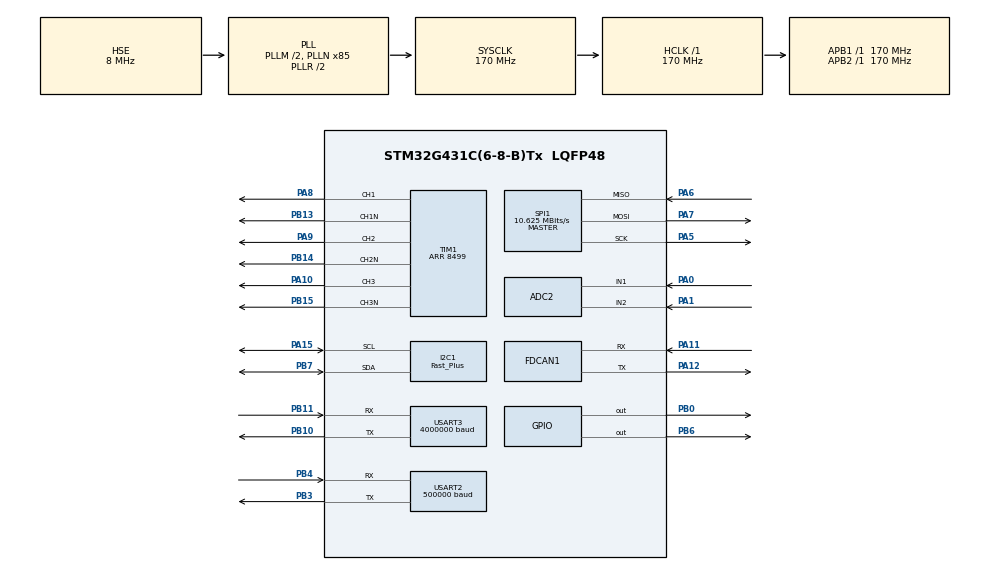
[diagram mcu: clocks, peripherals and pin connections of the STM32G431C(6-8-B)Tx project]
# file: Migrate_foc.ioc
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ADC2.Channel-0\#ChannelRegularConversion=ADC_CHANNEL_1
ADC2.EnableInjectedConversion=ENABLE
ADC2.ExternalTrigInjecConv=ADC_EXTERNALTRIGINJEC_T1_CC4
ADC2.ExternalTrigInjecConvEdge=ADC_EXTERNALTRIGINJECCONV_EDGE_FALLING
ADC2.InjNumberOfConversion=2
ADC2.InjectedChannel-1\#ChannelInjectedConversion=ADC_CHANNEL_1
ADC2.InjectedChannel-2\#ChannelInjectedConversion=ADC_CHANNEL_2
ADC2.InjectedOffsetNumber-1\#ChannelInjectedConversion=ADC_OFFSET_NONE
ADC2.InjectedOffsetNumber-2\#ChannelInjectedConversion=ADC_OFFSET_NONE
ADC2.InjectedRank-1\#ChannelInjectedConversion=1
ADC2.InjectedRank-2\#ChannelInjectedConversion=2
ADC2.InjectedSamplingTime-1\#ChannelInjectedConversion=ADC_SAMPLETIME_12CYCLES_5
ADC2.InjectedSamplingTime-2\#ChannelInjectedConversion=ADC_SAMPLETIME_12CYCLES_5
ADC2.NbrOfConversionFlag=1
ADC2.OffsetNumber-0\#ChannelRegularConversion=ADC_OFFSET_NONE
ADC2.Rank-0\#ChannelRegularConversion=1
ADC2.Rank1_Channel=ADC_CHANNEL_1
ADC2.Rank2_Channel=ADC_CHANNEL_2
ADC2.SamplingTime-0\#ChannelRegularConversion=ADC_SAMPLETIME_2CYCLES_5
Dma.Request0=USART2_RX
Dma.Request1=USART2_TX
Dma.Request2=USART3_RX
Dma.Request3=USART3_TX
Dma.USART2_RX.0.Direction=DMA_PERIPH_TO_MEMORY
Dma.USART2_RX.0.EventEnable=DISABLE
Dma.USART2_RX.0.Instance=DMA1_Channel1
Dma.USART2_RX.0.MemDataAlignment=DMA_MDATAALIGN_BYTE
Dma.USART2_RX.0.MemInc=DMA_MINC_ENABLE
Dma.USART2_RX.0.Mode=DMA_NORMAL
Dma.USART2_RX.0.PeriphDataAlignment=DMA_PDATAALIGN_BYTE
Dma.USART2_RX.0.PeriphInc=DMA_PINC_DISABLE
Dma.USART2_RX.0.Polarity=HAL_DMAMUX_REQ_GEN_RISING
Dma.USART2_RX.0.Priority=DMA_PRIORITY_MEDIUM
Dma.USART2_RX.0.RequestNumber=1
Dma.USART2_RX.0.SignalID=NONE
Dma.USART2_RX.0.SyncEnable=DISABLE
Dma.USART2_RX.0.SyncPolarity=HAL_DMAMUX_SYNC_NO_EVENT
Dma.USART2_RX.0.SyncRequestNumber=1
Dma.USART2_RX.0.SyncSignalID=NONE
Dma.USART2_TX.1.Direction=DMA_MEMORY_TO_PERIPH
Dma.USART2_TX.1.EventEnable=DISABLE
Dma.USART2_TX.1.Instance=DMA1_Channel2
Dma.USART2_TX.1.MemDataAlignment=DMA_MDATAALIGN_BYTE
Dma.USART2_TX.1.MemInc=DMA_MINC_ENABLE
Dma.USART2_TX.1.Mode=DMA_NORMAL
Dma.USART2_TX.1.PeriphDataAlignment=DMA_PDATAALIGN_BYTE
Dma.USART2_TX.1.PeriphInc=DMA_PINC_DISABLE
Dma.USART2_TX.1.Polarity=HAL_DMAMUX_REQ_GEN_RISING
Dma.USART2_TX.1.Priority=DMA_PRIORITY_LOW
Dma.USART2_TX.1.RequestNumber=1
Dma.USART2_TX.1.SignalID=NONE
Dma.USART2_TX.1.SyncEnable=DISABLE
Dma.USART2_TX.1.SyncPolarity=HAL_DMAMUX_SYNC_NO_EVENT
Dma.USART2_TX.1.SyncRequestNumber=1
Dma.USART2_TX.1.SyncSignalID=NONE
Dma.USART3_RX.2.Direction=DMA_PERIPH_TO_MEMORY
Dma.USART3_RX.2.EventEnable=DISABLE
Dma.USART3_RX.2.Instance=DMA1_Channel3
Dma.USART3_RX.2.MemDataAlignment=DMA_MDATAALIGN_BYTE
Dma.USART3_RX.2.MemInc=DMA_MINC_ENABLE
Dma.USART3_RX.2.Mode=DMA_NORMAL
Dma.USART3_RX.2.PeriphDataAlignment=DMA_PDATAALIGN_BYTE
Dma.USART3_RX.2.PeriphInc=DMA_PINC_DISABLE
Dma.USART3_RX.2.Polarity=HAL_DMAMUX_REQ_GEN_RISING
Dma.USART3_RX.2.Priority=DMA_PRIORITY_VERY_HIGH
Dma.USART3_RX.2.RequestNumber=1
Dma.USART3_RX.2.SignalID=NONE
Dma.USART3_RX.2.SyncEnable=DISABLE
Dma.USART3_RX.2.SyncPolarity=HAL_DMAMUX_SYNC_NO_EVENT
Dma.USART3_RX.2.SyncRequestNumber=1
Dma.USART3_RX.2.SyncSignalID=NONE
Dma.USART3_TX.3.Direction=DMA_MEMORY_TO_PERIPH
Dma.USART3_TX.3.EventEnable=DISABLE
Dma.USART3_TX.3.Instance=DMA1_Channel4
Dma.USART3_TX.3.MemDataAlignment=DMA_MDATAALIGN_BYTE
Dma.USART3_TX.3.MemInc=DMA_MINC_ENABLE
Dma.USART3_TX.3.Mode=DMA_NORMAL
Dma.USART3_TX.3.PeriphDataAlignment=DMA_PDATAALIGN_BYTE
Dma.USART3_TX.3.PeriphInc=DMA_PINC_DISABLE
Dma.USART3_TX.3.Polarity=HAL_DMAMUX_REQ_GEN_RISING
Dma.USART3_TX.3.Priority=DMA_PRIORITY_LOW
Dma.USART3_TX.3.RequestNumber=1
Dma.USART3_TX.3.SignalID=NONE
Dma.USART3_TX.3.SyncEnable=DISABLE
Dma.USART3_TX.3.SyncPolarity=HAL_DMAMUX_SYNC_NO_EVENT
Dma.USART3_TX.3.SyncRequestNumber=1
Dma.USART3_TX.3.SyncSignalID=NONE
FDCAN1.CalculateBaudRateNominal=3541666
FDCAN1.CalculateTimeBitNominal=282
FDCAN1.CalculateTimeQuantumNominal=94.11764705882354
FREERTOS.BinarySemaphores01=RS485RX,Dynamic,NULL,Available
FREERTOS.Tasks01=zhuhanshu,8,256,StartDefaultTask,Default,NULL,Dynamic,NULL,NULL;RS485,16,128,StartTask02,Default,NULL,Dynamic,NULL,NULL
I2C1.I2C_Speed_Mode=I2C_Fast_Plus
I2C1.Timing=0x4052060F
Mcu.Family=STM32G4
Mcu.Name=STM32G431C(6-8-B)Tx
Mcu.Package=LQFP48
NVIC.DMA1_Channel1_IRQn=true\:5\:0\:false\:false\:true\:true\:false\:true\:true
NVIC.DMA1_Channel2_IRQn=true\:5\:0\:false\:false\:true\:true\:false\:true\:true
NVIC.DMA1_Channel3_IRQn=true\:5\:0\:false\:false\:true\:true\:false\:true\:true
NVIC.DMA1_Channel4_IRQn=true\:5\:0\:false\:false\:true\:true\:false\:true\:true
NVIC.PriorityGroup=NVIC_PRIORITYGROUP_4
NVIC.TIM1_TRG_COM_TIM17_IRQn=true\:15\:0\:false\:false\:true\:false\:false\:true\:true
NVIC.TIM8_UP_IRQn=true\:15\:0\:false\:false\:true\:false\:false\:true\:true
NVIC.TimeBase=TIM8_UP_IRQn
NVIC.TimeBaseIP=TIM8
NVIC.USART2_IRQn=true\:5\:0\:false\:false\:true\:true\:true\:true\:true
NVIC.USART3_IRQn=true\:5\:0\:false\:false\:true\:true\:true\:true\:true
PA0.Mode=IN1-Single-Ended
PA0.Signal=ADC2_IN1
PA1.Mode=IN2-Single-Ended
PA1.Signal=ADC2_IN2
PA10.Signal=S_TIM1_CH3
PA11.Mode=FDCAN_Activate
PA11.Signal=FDCAN1_RX
PA12.Mode=FDCAN_Activate
PA12.Signal=FDCAN1_TX
PA13.Mode=Serial_Wire
PA13.Signal=SYS_JTMS-SWDIO
PA14.Mode=Serial_Wire
PA14.Signal=SYS_JTCK-SWCLK
PA15.Mode=I2C
PA15.Signal=I2C1_SCL
PA5.Mode=Full_Duplex_Master
PA5.Signal=SPI1_SCK
PA6.Mode=Full_Duplex_Master
PA6.Signal=SPI1_MISO
PA7.Mode=Full_Duplex_Master
PA7.Signal=SPI1_MOSI
PA8.Signal=S_TIM1_CH1
PA9.Signal=S_TIM1_CH2
PB0.GPIO_Speed=GPIO_SPEED_FREQ_LOW
PB0.PinState=GPIO_PIN_SET
PB0.Signal=GPIO_Output
PB10.Mode=Asynchronous
PB10.Signal=USART3_TX
PB11.Mode=Asynchronous
PB11.Signal=USART3_RX
PB13.Mode=PWM Generation1 CH1 CH1N
PB13.Signal=TIM1_CH1N
PB14.Mode=PWM Generation2 CH2 CH2N
PB14.Signal=TIM1_CH2N
PB15.Mode=PWM Generation3 CH3 CH3N
PB15.Signal=TIM1_CH3N
PB3.Mode=Asynchronous
PB3.Signal=USART2_TX
PB4.Mode=Asynchronous
PB4.Signal=USART2_RX
PB6.GPIO_Speed=GPIO_SPEED_FREQ_LOW
PB6.Signal=GPIO_Output
PB7.Mode=I2C
PB7.Signal=I2C1_SDA
PF0-OSC_IN.Mode=HSE-External-Oscillator
PF0-OSC_IN.Signal=RCC_OSC_IN
PF1-OSC_OUT.Mode=HSE-External-Oscillator
PF1-OSC_OUT.Signal=RCC_OSC_OUT
ProjectManager.HeapSize=0x200
ProjectManager.StackSize=0x400
ProjectManager.TargetToolchain=MDK-ARM V5.32
RCC.ADC12Freq_Value=170000000
RCC.AHBFreq_Value=170000000
RCC.APB1Freq_Value=170000000
RCC.APB1TimFreq_Value=170000000
RCC.APB2Freq_Value=170000000
RCC.APB2TimFreq_Value=170000000
RCC.CortexFreq_Value=170000000
RCC.EXTERNAL_CLOCK_VALUE=12288000
RCC.HCLKFreq_Value=170000000
RCC.HSE_VALUE=8000000
RCC.HSI48_VALUE=48000000
RCC.HSI_VALUE=16000000
RCC.LSE_VALUE=32768
RCC.PLLM=RCC_PLLM_DIV2
RCC.PLLN=85
RCC.PLLSourceVirtual=RCC_PLLSOURCE_HSE
RCC.SYSCLKFreq_VALUE=170000000
RCC.SYSCLKSource=RCC_SYSCLKSOURCE_PLLCLK
RCC.USBFreq_Value=170000000
RCC.VCOOutputFreq_Value=340000000
SH.S_TIM1_CH1.0=TIM1_CH1,PWM Generation1 CH1 CH1N
SH.S_TIM1_CH2.0=TIM1_CH2,PWM Generation2 CH2 CH2N
SH.S_TIM1_CH3.0=TIM1_CH3,PWM Generation3 CH3 CH3N
SPI1.BaudRatePrescaler=SPI_BAUDRATEPRESCALER_16
SPI1.CLKPhase=SPI_PHASE_2EDGE
SPI1.CalculateBaudRate=10.625 MBits/s
SPI1.DataSize=SPI_DATASIZE_16BIT
SPI1.Direction=SPI_DIRECTION_2LINES
SPI1.Mode=SPI_MODE_MASTER
SPI1.VirtualType=VM_MASTER
TIM1.AutomaticOutput=TIM_AUTOMATICOUTPUT_ENABLE
TIM1.Channel-PWM\ Generation1\ CH1\ CH1N=TIM_CHANNEL_1
TIM1.Channel-PWM\ Generation2\ CH2\ CH2N=TIM_CHANNEL_2
TIM1.Channel-PWM\ Generation3\ CH3\ CH3N=TIM_CHANNEL_3
TIM1.Channel-PWM\ Generation4\ No\ Output=TIM_CHANNEL_4
TIM1.CounterMode=TIM_COUNTERMODE_CENTERALIGNED1
TIM1.DeadTime=149
TIM1.DeadTimePreload=ENABLE
TIM1.PeriodNoDither=8499
TIM1.PulseNoDither_4=8449
TIM2.Prescaler=169
USART2.BaudRate=500000
USART2.Parity=PARITY_NONE
USART2.VirtualMode-Asynchronous=VM_ASYNC
USART3.BaudRate=4000000
USART3.VirtualMode-Asynchronous=VM_ASYNC
VP_CORDIC_VS_CORDIC.Mode=CORDIC_Activate
VP_FMAC_VS_FMAC.Mode=FMAC_Activate
VP_FREERTOS_VS_CMSIS_V2.Mode=CMSIS_V2
VP_SYS_VS_DBSignals.Mode=DisableDeadBatterySignals
VP_SYS_VS_tim8.Mode=TIM8
VP_TIM1_VS_no_output4.Mode=PWM Generation4 No Output
VP_TIM2_VS_ClockSourceINT.Mode=Internal
board=custom

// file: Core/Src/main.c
/* USER CODE BEGIN Header */
/**
 ******************************************************************************
 * @file           : main.c
 * @brief          : Main program body
 ******************************************************************************
 * @attention
 *
 * Copyright (c) 2025 STMicroelectronics.
 * All rights reserved.
 *
 * This software is licensed under terms that can be found in the LICENSE file
 * in the root directory of this software component.
 * If no LICENSE file comes with this software, it is provided AS-IS.
 *
 ******************************************************************************
 */
/* USER CODE END Header */
#include "main.h"
#include "cmsis_os.h"
#include "adc.h"
#include "cordic.h"
#include "dma.h"
#include "fdcan.h"
#include "fmac.h"
#include "i2c.h"
#include "spi.h"
#include "tim.h"
#include "usart.h"
#include "gpio.h"

/* USER CODE BEGIN Includes */
#include "FOC.h"
#include <stdlib.h>
#include "string.h"
#include "electricity.h"
#include "AS5600.h"
#include "User_define.h"
#include "DWT.h"
#include "string.h"
#include "AS5047P.h"
#include "RS485.h"
#include "lowpass_fillter.h"
/* USER CODE END Includes */

/* USER CODE BEGIN PV */

uint8_t uart_rx_dma_buffer[FLOAT_BUF_SIZE] = {0};
uint8_t uart_dma_buffer[FLOAT_BUF_SIZE] = {0};

float time, last_time;
float serial_targrt = 0.0f;
float serial_send_time = 0, serial_send_time_prev = 0;

volatile float adc_value[3] = {0, 0, 0};
float current_Now, current_Preview;
FOC_TxPacket send_data = {
    .foc_current = 0,
    .rx_target = 0,
    .adc_value1 = 0,
    .adc_value2 = 0,
    .now_angle = 0,
    .pass_time = 0,
    .tail = {0x00, 0x00, 0x80, 0x7f}};
FOC_PID data = {
    .foc_current = 0,
    .rx_target = 0,
    .now_angle = 0,
    .tail = {0x00, 0x00, 0x80, 0x7f}};
float v_now;
/* USER CODE END PV */

void SystemClock_Config(void);
void MX_FREERTOS_Init(void);
/* USER CODE BEGIN PFP */
void if_serial_receive_data(void);
/* USER CODE END PFP */

int main(void)
{

  /* MCU Configuration--------------------------------------------------------*/

  /* Reset of all peripherals, Initializes the Flash interface and the Systick. */
  HAL_Init();

  /* Configure the system clock */
  SystemClock_Config();

  /* Initialize all configured peripherals */
  MX_GPIO_Init();
  MX_DMA_Init();
  MX_CORDIC_Init();
  MX_FDCAN1_Init();
  MX_FMAC_Init();
  MX_I2C1_Init();
  MX_TIM1_Init();
  MX_TIM2_Init();
  MX_USART2_UART_Init();
  MX_ADC2_Init();
  MX_SPI1_Init();
  MX_USART3_UART_Init();
  /* USER CODE BEGIN 2 */
//  HAL_ADCEx_Calibration_Start(&hadc2, ADC_SINGLE_ENDED);
//  HAL_ADCEx_InjectedStart(&hadc2);
//  HAL_TIM_Base_Start(&htim2);
//  HAL_TIM_PWM_Start(&htim1, TIM_CHANNEL_1);
//  HAL_TIMEx_PWMN_Start(&htim1, TIM_CHANNEL_1);
//  HAL_TIM_PWM_Start(&htim1, TIM_CHANNEL_2);
//  HAL_TIMEx_PWMN_Start(&htim1, TIM_CHANNEL_2);
//  HAL_TIM_PWM_Start(&htim1, TIM_CHANNEL_3);
//  HAL_TIMEx_PWMN_Start(&htim1, TIM_CHANNEL_3);
//  HAL_TIM_PWM_Start(&htim1, TIM_CHANNEL_4); // 先把通道四先打开，才能触发ADC采样，ADC才能采到正确的初始值
//  Enable_DWT_CycleCounter();
//  calculate_variety();
//  electricity_init();
//  setMotor(motor_Pn, motor_DIR);
//  SPI_AS5047P_Init(&hspi1, GPIOB, GPIO_PIN_0); // AS5047P的CS引脚初始为高电平
//  RS485_RX_EN

	RS485_RX_EN
	HAL_TIM_Base_Start(&htim2);
	Enable_DWT_CycleCounter();
  /* USER CODE END 2 */

  /* Init scheduler */
  osKernelInitialize();  /* Call init function for freertos objects (in cmsis_os2.c) */
  MX_FREERTOS_Init();

  /* Start scheduler */
  osKernelStart();

  /* We should never get here as control is now taken by the scheduler */

  /* Infinite loop */
  while (1)
  {

  }
}

void SystemClock_Config(void)
{
  RCC_OscInitTypeDef RCC_OscInitStruct = {0};
  RCC_ClkInitTypeDef RCC_ClkInitStruct = {0};

  /** Configure the main internal regulator output voltage
  */
  HAL_PWREx_ControlVoltageScaling(PWR_REGULATOR_VOLTAGE_SCALE1_BOOST);

  /** Initializes the RCC Oscillators according to the specified parameters
  * in the RCC_OscInitTypeDef structure.
  */
  RCC_OscInitStruct.OscillatorType = RCC_OSCILLATORTYPE_HSE;
  RCC_OscInitStruct.HSEState = RCC_HSE_ON;
  RCC_OscInitStruct.PLL.PLLState = RCC_PLL_ON;
  RCC_OscInitStruct.PLL.PLLSource = RCC_PLLSOURCE_HSE;
  RCC_OscInitStruct.PLL.PLLM = RCC_PLLM_DIV2;
  RCC_OscInitStruct.PLL.PLLN = 85;
  RCC_OscInitStruct.PLL.PLLP = RCC_PLLP_DIV2;
  RCC_OscInitStruct.PLL.PLLQ = RCC_PLLQ_DIV2;
  RCC_OscInitStruct.PLL.PLLR = RCC_PLLR_DIV2;
  if (HAL_RCC_OscConfig(&RCC_OscInitStruct) != HAL_OK)
  {
    Error_Handler();
  }

  /** Initializes the CPU, AHB and APB buses clocks
  */
  RCC_ClkInitStruct.ClockType = RCC_CLOCKTYPE_HCLK|RCC_CLOCKTYPE_SYSCLK
                              |RCC_CLOCKTYPE_PCLK1|RCC_CLOCKTYPE_PCLK2;
  RCC_ClkInitStruct.SYSCLKSource = RCC_SYSCLKSOURCE_PLLCLK;
  RCC_ClkInitStruct.AHBCLKDivider = RCC_SYSCLK_DIV1;
  RCC_ClkInitStruct.APB1CLKDivider = RCC_HCLK_DIV1;
  RCC_ClkInitStruct.APB2CLKDivider = RCC_HCLK_DIV1;

  if (HAL_RCC_ClockConfig(&RCC_ClkInitStruct, FLASH_LATENCY_4) != HAL_OK)
  {
    Error_Handler();
  }
}

/* USER CODE BEGIN 4 */
uint32_t micros(void)
{
  return __HAL_TIM_GetCounter(&htim2);
}

// 该函数用于解析字符型数据
float fast_atof(const uint8_t *buffer, uint16_t len)
{
  // 单次遍历算法（无状态机）
  int integer = 0;
  int fraction = 0;
  int fraction_digits = 0;
  int is_negative = 0;
  int has_decimal = 0;

  // 使用寄存器变量加速
  register uint8_t *ptr = (uint8_t *)buffer;
  register uint16_t count = len;

  // 单次遍历处理所有字符
  while (count--)
  {
    register uint8_t c = *ptr++;

    if (c == '-')
      is_negative = 1;
    else if (c == '.')
      has_decimal = 1;
    else if (c >= '0' && c <= '9')
    {
      if (has_decimal)
      {
        fraction = fraction * 10 + (c - '0');
        fraction_digits++;
      }
      else
      {
        integer = integer * 10 + (c - '0');
      }
    }
  }

  // 预计算除法因子（避免循环内浮点除法）
  const float fraction_multipliers[7] = {
      0.0, 0.1, 0.01, 0.001, 0.0001, 0.00001, 0.000001};
  float multiplier = (fraction_digits > 6) ? fraction_multipliers[6] : fraction_multipliers[fraction_digits];

  // 3. 整数转浮点的汇编优化
  float result = (float)integer + (float)fraction * multiplier;
  return is_negative ? -result : result;
}
void if_serial_receive_data(void)
{
  if (rx_complete)
  {

    uint16_t len = rx_length;
    rx_complete = 0;

    // 解析数据
    serial_targrt = fast_atof((uint8_t *)uart_dma_buffer, len);
    // 1.5us结束解析
  }
}
/* USER CODE END 4 */

void HAL_TIM_PeriodElapsedCallback(TIM_HandleTypeDef *htim)
{
  if (htim->Instance == TIM8)
  {
    HAL_IncTick();
  }
}

void Error_Handler(void)
{
  __disable_irq();
  while (1)
  {
  }
}

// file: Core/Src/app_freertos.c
/* USER CODE BEGIN Header */
/**
  ******************************************************************************
  * File Name          : app_freertos.c
  * Description        : Code for freertos applications
  ******************************************************************************
  * @attention
  *
  * Copyright (c) 2025 STMicroelectronics.
  * All rights reserved.
  *
  * This software is licensed under terms that can be found in the LICENSE file
  * in the root directory of this software component.
  * If no LICENSE file comes with this software, it is provided AS-IS.
  *
  ******************************************************************************
  */
/* USER CODE END Header */

#include "FreeRTOS.h"
#include "task.h"
#include "main.h"
#include "cmsis_os.h"

/* USER CODE BEGIN Includes */
#include  "stdio.h"
#include  "semphr.h"
#include  "tim.h"
#include  "RS485.h"
#include "FOC.h"
#include <stdlib.h>
#include "string.h"
#include "electricity.h"
#include "AS5600.h"
#include "User_define.h"
#include "DWT.h"
#include "string.h"
#include "AS5047P.h"
#include "RS485.h"
#include "lowpass_fillter.h"
/* USER CODE END Includes */

/* USER CODE BEGIN Variables */

//RS485应答   优先级    osPriorityBelowNormal       task02
//zhuhanshu   优先级    osPriorityLow               dautask

/* USER CODE END Variables */
/* Definitions for zhuhanshu */
osThreadId_t zhuhanshuHandle;
const osThreadAttr_t zhuhanshu_attributes = {
  .name = "zhuhanshu",
  .priority = (osPriority_t) osPriorityLow,
  .stack_size = 256 * 4
};
/* Definitions for RS485 */
osThreadId_t RS485Handle;
const osThreadAttr_t RS485_attributes = {
  .name = "RS485",
  .priority = (osPriority_t) osPriorityBelowNormal,
  .stack_size = 128 * 4
};
/* Definitions for RS485RX */
osSemaphoreId_t RS485RXHandle;
const osSemaphoreAttr_t RS485RX_attributes = {
  .name = "RS485RX"
};

void StartDefaultTask(void *argument);
void StartTask02(void *argument);

void MX_FREERTOS_Init(void); /* (MISRA C 2004 rule 8.1) */

void MX_FREERTOS_Init(void) {

  /* Create the semaphores(s) */
  /* creation of RS485RX */
  RS485RXHandle = osSemaphoreNew(1, 1, &RS485RX_attributes);

  /* Create the thread(s) */
  /* creation of zhuhanshu */
  zhuhanshuHandle = osThreadNew(StartDefaultTask, NULL, &zhuhanshu_attributes);

  /* creation of RS485 */
  RS485Handle = osThreadNew(StartTask02, NULL, &RS485_attributes);

}

void StartDefaultTask(void *argument)
{
  /* USER CODE BEGIN StartDefaultTask */
  /* Infinite loop */
  for(;;)
  {
//		printf("jiji\n");
//    if_serial_receive_data();
//    //FOC_setCurrent(serial_targrt);
//	velocityOpenloop(5);
//    //FOC_setVelocity(500);
//    serial_send_time = micros();
//    if (serial_send_time - serial_send_time_prev >= 1000)
//    {
//      /*FOC_TxPacket send_data = {
//          .foc_current = current_Now,
//          .rx_target = hadc2.Instance->JDR1,
//          .adc_value1 = adc_value[0],
//          .adc_value2 = adc_value[1],
//          .now_angle = angle,
//          .pass_time = pid_output,
//          .tail = {0x00, 0x00, 0x80, 0x7f}};*/
//      FOC_PID data = {
//          .foc_current = v_fillter,
//          .rx_target = serial_targrt,
//          .now_angle = angle,
//          .tail = {0x00, 0x00, 0x80, 0x7f}};
//      HAL_UART_Transmit_DMA(&huart2, (uint8_t *)&data, sizeof(FOC_PID));
//      serial_send_time_prev = serial_send_time;
    osDelay(1);
//    }
  }
  /* USER CODE END StartDefaultTask */
}

void StartTask02(void *argument)
{
  /* USER CODE BEGIN StartTask02 */
  /* Infinite loop */
  for(;;)
  {

     if(xSemaphoreTake(RS485RXHandle, portMAX_DELAY) == pdPASS )  //没有信号量我就把自己挂起来，让其他函数执行
    {

			Analyze_RS485_data();
    }
  }
  /* USER CODE END StartTask02 */
}
